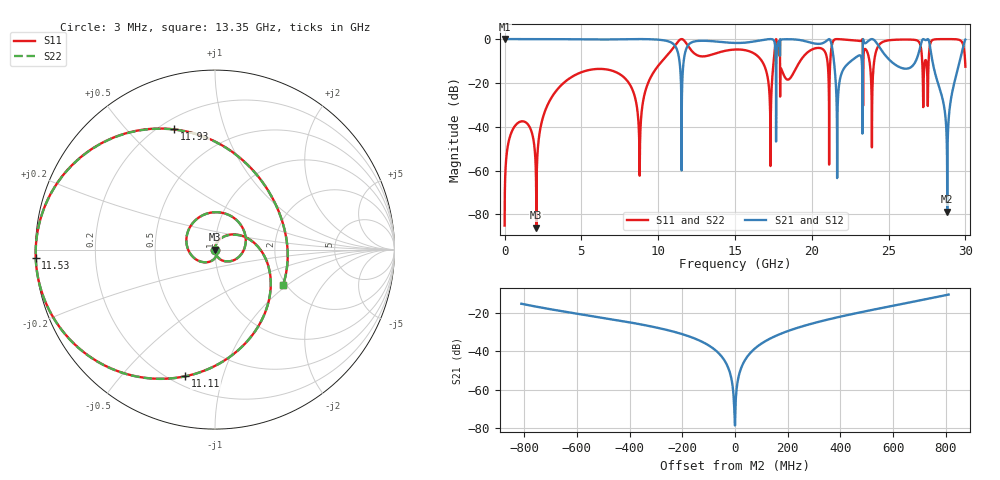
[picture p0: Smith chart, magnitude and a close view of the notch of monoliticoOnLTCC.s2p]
! S parameter file generated by ana
#  GHz  S  DB  R  50
! frequency  S11_dB  S11_deg  S21_dB  S21_deg  S12_dB  S12_deg  S22_dB  S22_deg
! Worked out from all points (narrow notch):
!   10000 points, 3 MHz to 30 GHz, reference 50 ohm
!   highest |S21| = 0.00 dB at 39 MHz (marker M1); lowest = -78.8 dB at 28.82 GHz (marker M2)
!   notch at M2: 78.0 dB deep, 135 MHz wide at half that depth
!   lowest |S11| = -86.1 dB at 2.067 GHz (marker M3), VSWR 1.00, Z = 50 + j0.00497 ohm
!   |S11| at or under -10 dB: start of sweep to 10.26 GHz; 16.75 GHz to 17.52 GHz (771.2 MHz wide, 4.5 % of centre); 17.93 GHz to 19.25 GHz (1.313 GHz wide, 7.06 % of centre)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
!   |S22| runs from -86.1 to 0.0 dB; largest |S21 - S12| = 0
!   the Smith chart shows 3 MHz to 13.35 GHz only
!   S11 on the Smith chart (normalised r, x): 3 MHz: 1.00, -0.00; 11.11 GHz: 0.26, -0.76; 11.53 GHz: 0.00, -0.02; 11.93 GHz: 0.26, +0.68; 13.35 GHz: 1.92, -0.93
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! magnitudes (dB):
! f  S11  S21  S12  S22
! 3 MHz  -85.1  0.0  0.0  -85.1
! 39 MHz  -63.3  0.0  0.0  -63.3
! 864 MHz  -38.3  0.0  0.0  -38.3
! 2.067 GHz  -86.1  0.0  0.0  -86.1
! 5.004 GHz  -15.1  -0.1  -0.1  -15.1
! 8.793 GHz  -62.3  0.0  0.0  -62.3
! 10 GHz  -12.2  -0.3  -0.3  -12.2
! 11.11 GHz  -2.8  -3.2  -3.2  -2.8
! 11.53 GHz  0.0  -36.2  -36.2  0.0
! 11.93 GHz  -3.0  -3.0  -3.0  -3.0
! 13.35 GHz  -7.4  -0.9  -0.9  -7.4
! 15 GHz  -4.8  -1.8  -1.8  -4.8
! 17.28 GHz  -30.3  0.0  0.0  -30.3
! 17.69 GHz  -0.1  -16.3  -16.3  -0.1
! 20 GHz  -4.8  -1.7  -1.7  -4.8
! 21.19 GHz  -11.8  -0.3  -0.3  -11.8
! 21.69 GHz  0.0  -29.8  -29.8  0.0
! 23.91 GHz  -35.8  0.0  0.0  -35.8
! 25 GHz  -0.6  -9.1  -9.1  -0.6
! 27.54 GHz  -22.4  0.0  0.0  -22.4
! 28.82 GHz  0.0  -78.8  -78.8  0.0
! 30 GHz  -12.6  -0.2  -0.2  -12.6
